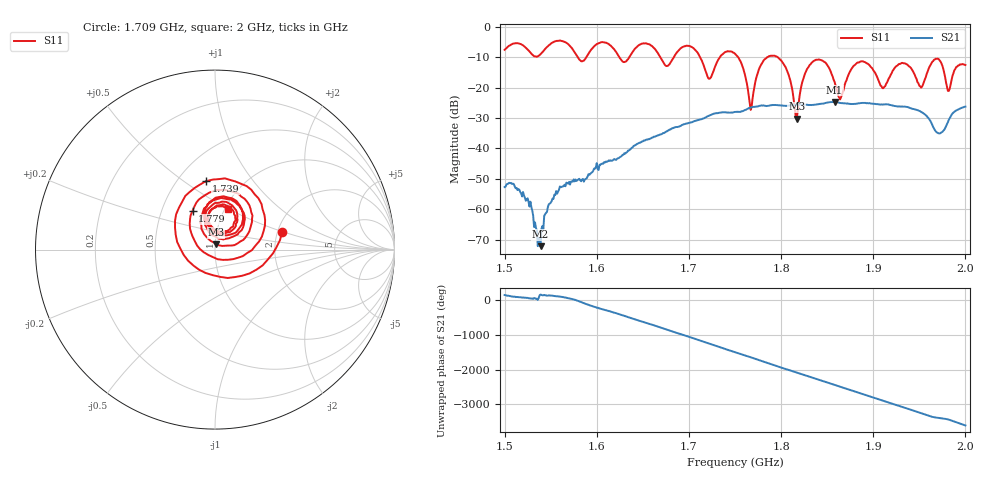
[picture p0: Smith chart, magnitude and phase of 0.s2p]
! NanoVNA-App by SYSJOINT et al v1.1.209 (+OD18)
! Date: 2026-01-21 14:31:36
! Start: 1,5GHz Stop: 2GHz Points: 501
! S-Parameter data: F S11 S21 S12 S22
# Hz S RI R 50
!  Frequency  S11_Real  S11_Imag  S21_Real  S21_Imag  S12_Real  S12_Imag  S22_Real  S22_Imag
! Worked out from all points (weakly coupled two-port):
!   501 points, 1.5 GHz to 2 GHz, reference 50 ohm
!   highest |S21| = -24.66 dB at 1.858 GHz (marker M1); lowest = -72.2 dB at 1.539 GHz (marker M2)
!   lowest |S11| = -30.2 dB at 1.817 GHz (marker M3), VSWR 1.06, Z = 50.5 + j3.06 ohm
!   |S11| at or under -10 dB: 1.712 GHz to 1.734 GHz (21.26 MHz wide, 1.23 % of centre); 1.754 GHz to 1.785 GHz (31.21 MHz wide, 1.76 % of centre); 1.797 GHz to end of sweep (the widest 3 of 6)
!   S12 and S22 are empty: the file has one direction only
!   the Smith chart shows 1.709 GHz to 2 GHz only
!   S11 on the Smith chart (normalised r, x): 1.709 GHz: 2.12, +0.48; 1.739 GHz: 0.68, +0.61; 1.779 GHz: 0.71, +0.33; 2 GHz: 1.03, +0.49
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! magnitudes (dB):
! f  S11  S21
! 1.5 GHz  -7.5  -52.7
! 1.539 GHz  -8.9  -72.2
! 1.558 GHz  -4.5  -54.2
! 1.584 GHz  -11.3  -50.3
! 1.667 GHz  -9.0  -35.7
! 1.709 GHz  -8.3  -30.7
! 1.722 GHz  -17.1  -29.2
! 1.739 GHz  -8.3  -28.1
! 1.75 GHz  -8.8  -28.0
! 1.767 GHz  -27.3  -26.5
! 1.779 GHz  -12.1  -25.8
! 1.802 GHz  -11.8  -25.9
! 1.817 GHz  -30.2  -25.7
! 1.834 GHz  -11.5  -25.7
! 1.858 GHz  -18.0  -24.7
! 1.888 GHz  -11.3  -25.0
! 1.917 GHz  -16.9  -25.5
! 1.933 GHz  -12.0  -26.2
! 1.952 GHz  -20.0  -28.0
! 1.971 GHz  -10.6  -35.0
! 1.982 GHz  -21.1  -30.6
! 2 GHz  -12.5  -26.2
